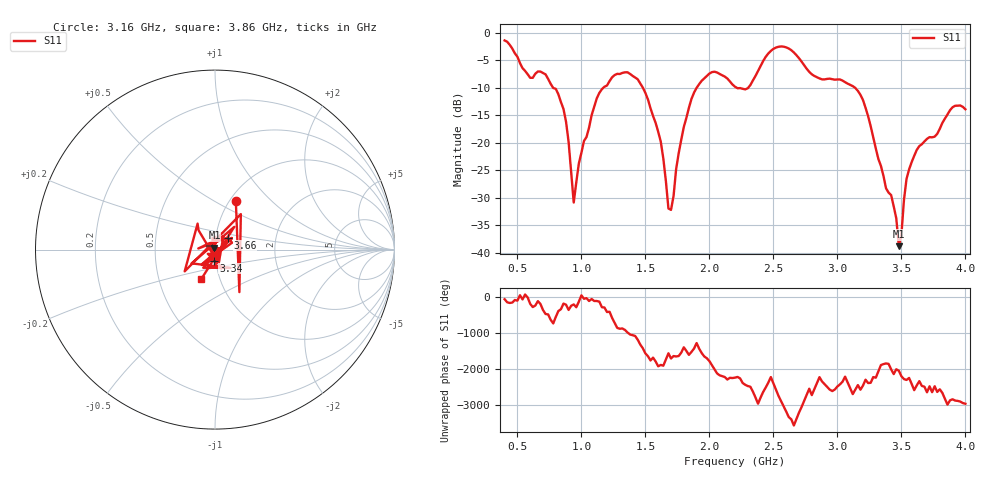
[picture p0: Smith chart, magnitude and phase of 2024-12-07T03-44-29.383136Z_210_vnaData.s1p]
!Created with skrf (http://scikit-rf.org).
# Hz S RI R 50.0
!freq ReS11 ImS11
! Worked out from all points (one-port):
!   181 points, 400 MHz to 4 GHz, reference 50 ohm
!   lowest |S11| = -38.8 dB at 3.48 GHz (marker M1), VSWR 1.02, Z = 49.7 + j1.1 ohm
!   |S11| at or under -10 dB: 779.1 MHz to 1.171 GHz (392.1 MHz wide, 40.2 % of centre); 1.481 GHz to 1.9 GHz (419.6 MHz wide, 24.8 % of centre); 3.139 GHz to end of sweep (the widest 3 of 4)
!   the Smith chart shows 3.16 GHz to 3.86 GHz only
!   S11 on the Smith chart (normalised r, x): 3.16 GHz: 1.07, +0.64; 3.34 GHz: 0.98, -0.12; 3.66 GHz: 1.14, +0.15; 3.86 GHz: 0.82, -0.28
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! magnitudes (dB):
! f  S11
! 400 MHz  -1.4
! 720 MHz  -7.6
! 860 MHz  -13.8
! 900 MHz  -19.8
! 940 MHz  -30.9
! 980 MHz  -23.8
! 1.12 GHz  -11.9
! 1.3 GHz  -7.5
! 1.52 GHz  -12.1
! 1.62 GHz  -19.8
! 1.68 GHz  -32.0
! 1.7 GHz  -32.2
! 1.76 GHz  -21.9
! 1.86 GHz  -12.0
! 1.94 GHz  -8.7
! 2.2 GHz  -9.8
! 2.3 GHz  -10.1
! 2.5 GHz  -2.9
! 2.66 GHz  -3.6
! 3.1 GHz  -9.5
! 3.16 GHz  -10.6
! 3.34 GHz  -24.2
! 3.44 GHz  -31.6
! 3.48 GHz  -38.8
! 3.56 GHz  -24.9
! 3.66 GHz  -20.3
! 3.86 GHz  -14.9
! 4 GHz  -13.9
